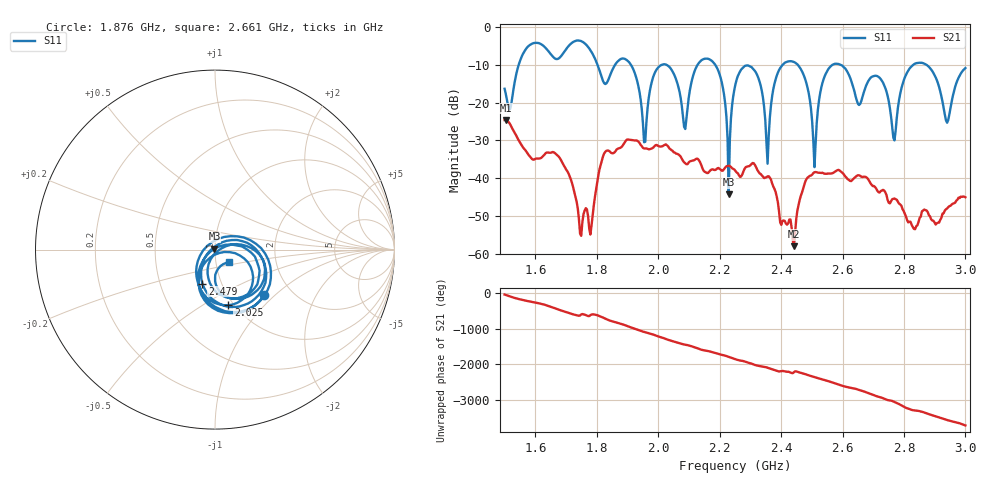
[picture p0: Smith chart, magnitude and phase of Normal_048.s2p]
# HZ S RI R 50
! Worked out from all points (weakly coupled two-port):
!   404 points, 1.5 GHz to 3 GHz, reference 50 ohm
!   highest |S21| = -24.59 dB at 1.504 GHz (marker M1); lowest = -57.9 dB at 2.442 GHz (marker M2)
!   lowest |S11| = -44.2 dB at 2.23 GHz (marker M3), VSWR 1.01, Z = 49.7 + j0.518 ohm
!   |S11| at or under -10 dB: 2.186 GHz to 2.405 GHz (219.5 MHz wide, 9.56 % of centre); 2.593 GHz to 2.83 GHz (237 MHz wide, 8.74 % of centre); 2.873 GHz to end of sweep (the widest 3 of 8)
!   S12 and S22 are empty: the file has one direction only
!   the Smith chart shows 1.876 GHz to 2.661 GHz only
!   S11 on the Smith chart (normalised r, x): 1.876 GHz: 1.45, -0.86; 2.025 GHz: 0.94, -0.65; 2.479 GHz: 0.81, -0.32; 2.661 GHz: 1.16, -0.17
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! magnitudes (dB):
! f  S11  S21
! 1.5 GHz  -16.3  -24.6
! 1.504 GHz  -17.6  -24.6
! 1.753 GHz  -3.9  -51.7
! 1.876 GHz  -8.6  -32.0
! 1.954 GHz  -30.5  -32.1
! 2.002 GHz  -10.5  -31.5
! 2.025 GHz  -9.9  -31.0
! 2.088 GHz  -27.0  -36.0
! 2.181 GHz  -9.5  -37.8
! 2.23 GHz  -44.2  -36.7
! 2.252 GHz  -15.0  -38.1
! 2.315 GHz  -11.7  -36.5
! 2.356 GHz  -36.1  -39.5
! 2.442 GHz  -9.2  -57.9
! 2.479 GHz  -13.9  -40.8
! 2.501 GHz  -25.0  -39.0
! 2.568 GHz  -9.9  -38.6
! 2.661 GHz  -19.5  -39.6
! 2.751 GHz  -19.7  -46.5
! 2.862 GHz  -9.6  -48.5
! 2.94 GHz  -25.3  -48.0
! 3 GHz  -10.9  -45.0
